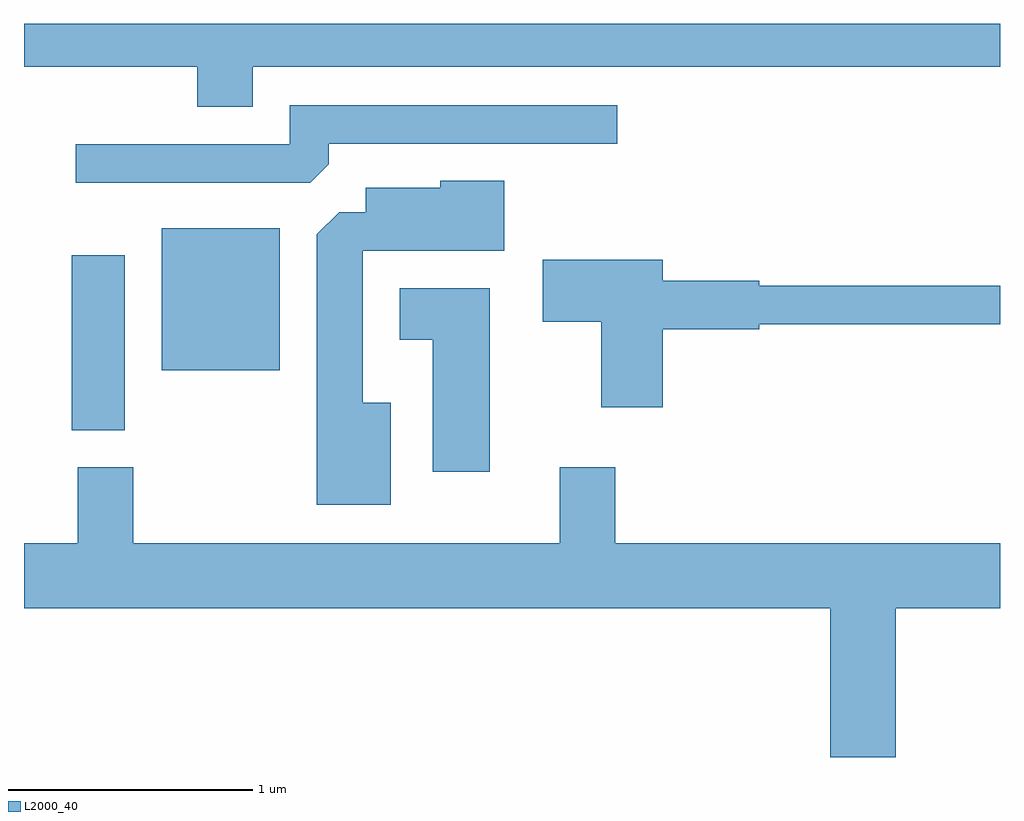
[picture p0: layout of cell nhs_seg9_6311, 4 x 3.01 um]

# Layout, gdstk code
import gdstk
lib = gdstk.Library(unit=1e-6, precision=1e-09)
def R(c, l, rs):  # rectangles x0, y0, x1, y1
    for r in rs: c.add(gdstk.rectangle(r[:2], r[2:], *l))
def P(c, l, *ps):  # polygons
    for p in ps: c.add(gdstk.Polygon(p, *l))
L2000_40 = (2000, 40)

nhs_seg9_6311 = lib.new_cell('nhs_seg9_6311')
R(nhs_seg9_6311, L2000_40, [(371.806,1994.766,372.024,1995.484), (372.176,1995.011,372.659,1995.594)])
P(nhs_seg9_6311, L2000_40, [(372.549,1996.256),(375.611,1996.256),(375.611,1996.432),(371.611,1996.432),(371.611,1996.256),(372.321,1996.256),(372.321,1996.091),(372.549,1996.091)],
  [(372.859,1995.857),(372.859,1995.941),(374.043,1995.941),(374.043,1996.099),(372.701,1996.099),(372.701,1995.939),(371.823,1995.939),(371.823,1995.781),(372.784,1995.781)],
  [(373.114,1994.879),(372.999,1994.879),(372.999,1995.501),(373.579,1995.501),(373.579,1995.789),(373.316,1995.789),(373.316,1995.759),(373.011,1995.759),(373.011,1995.659),(372.902,1995.659),(372.811,1995.569),(372.811,1994.461),(373.114,1994.461)],
  [(374.229,1995.181),(374.624,1995.181),(374.624,1995.201),(375.611,1995.201),(375.611,1995.359),(374.624,1995.359),(374.624,1995.379),(374.229,1995.379),(374.229,1995.464),(373.736,1995.464),(373.736,1995.211),(373.976,1995.211),(373.976,1994.861),(374.229,1994.861)],
  [(373.519,1995.349),(373.151,1995.349),(373.151,1995.136),(373.286,1995.136),(373.286,1994.596),(373.519,1994.596)],
  [(375.184,1994.036),(375.611,1994.036),(375.611,1994.304),(374.034,1994.304),(374.034,1994.614),(373.806,1994.614),(373.806,1994.304),(372.059,1994.304),(372.059,1994.614),(371.831,1994.614),(371.831,1994.304),(371.611,1994.304),(371.611,1994.036),(374.916,1994.036),(374.916,1993.426),(375.184,1993.426)])

lib.write_gds('nhs_seg9_6311.gds')
